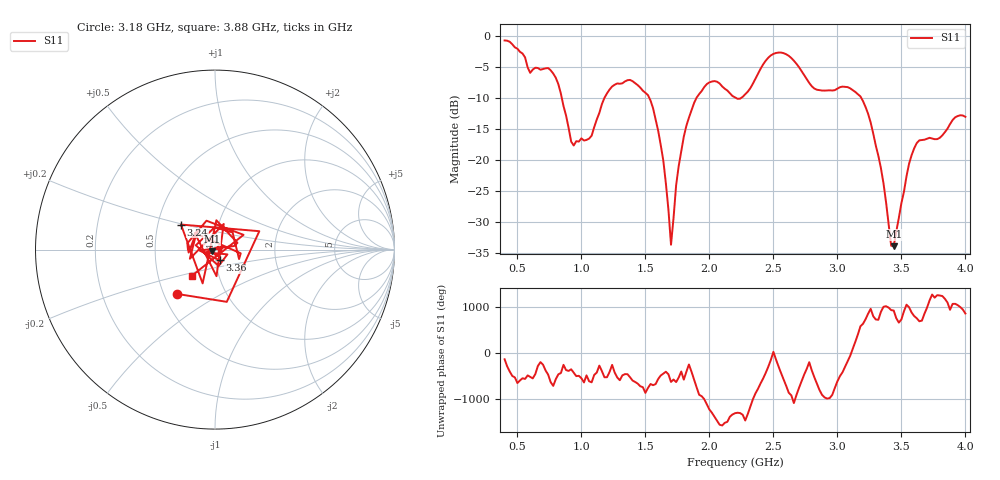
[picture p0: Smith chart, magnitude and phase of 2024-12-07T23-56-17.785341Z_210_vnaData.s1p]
!Created with skrf (http://scikit-rf.org).
# Hz S RI R 50.0
!freq ReS11 ImS11
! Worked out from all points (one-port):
!   181 points, 400 MHz to 4 GHz, reference 50 ohm
!   lowest |S11| = -33.9 dB at 3.44 GHz (marker M1), VSWR 1.04, Z = 48.3 - j1 ohm
!   |S11| at or under -10 dB: 846.8 MHz to 1.18 GHz (332.8 MHz wide, 32.9 % of centre); 1.531 GHz to 1.899 GHz (368.4 MHz wide, 21.5 % of centre); 3.186 GHz to end of sweep (the widest 3 of 4)
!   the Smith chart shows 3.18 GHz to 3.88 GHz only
!   S11 on the Smith chart (normalised r, x): 3.18 GHz: 0.58, -0.32; 3.24 GHz: 0.66, +0.19; 3.36 GHz: 1.04, -0.13; 3.88 GHz: 0.74, -0.22
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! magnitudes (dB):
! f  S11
! 400 MHz  -0.7
! 600 MHz  -6.0
! 760 MHz  -5.5
! 860 MHz  -11.3
! 940 MHz  -17.7
! 1.08 GHz  -16.1
! 1.18 GHz  -10.0
! 1.3 GHz  -7.7
! 1.56 GHz  -11.7
! 1.64 GHz  -20.1
! 1.7 GHz  -33.6
! 1.76 GHz  -21.0
! 1.84 GHz  -13.2
! 1.96 GHz  -8.2
! 2.2 GHz  -9.9
! 2.48 GHz  -3.1
! 2.66 GHz  -4.0
! 2.82 GHz  -8.5
! 3.1 GHz  -8.5
! 3.18 GHz  -9.8
! 3.24 GHz  -12.6
! 3.36 GHz  -23.7
! 3.42 GHz  -33.8
! 3.44 GHz  -33.9
! 3.56 GHz  -20.6
! 3.64 GHz  -16.8
! 3.88 GHz  -14.2
! 4 GHz  -13.0
